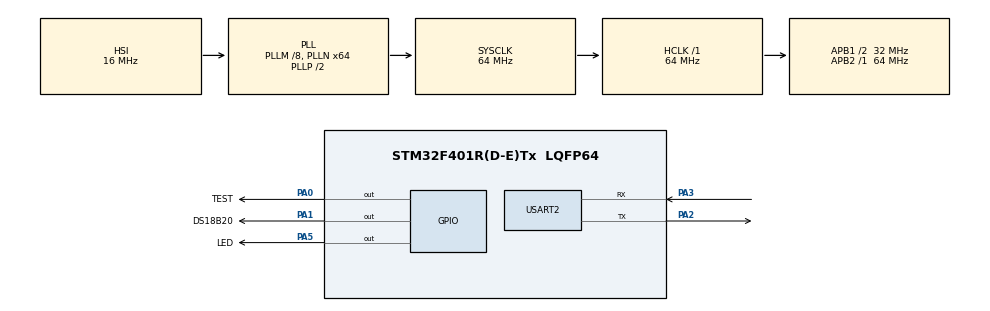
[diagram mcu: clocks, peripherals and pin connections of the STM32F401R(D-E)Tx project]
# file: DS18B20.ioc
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Mcu.Family=STM32F4
Mcu.Name=STM32F401R(D-E)Tx
Mcu.Package=LQFP64
NVIC.PriorityGroup=NVIC_PRIORITYGROUP_4
PA0-WKUP.GPIO_Label=TEST
PA0-WKUP.Signal=GPIO_Output
PA1.GPIO_Label=DS18B20
PA1.Signal=GPIO_Output
PA2.Mode=Asynchronous
PA2.Signal=USART2_TX
PA3.Mode=Asynchronous
PA3.Signal=USART2_RX
PA5.GPIO_Label=LED
PA5.Signal=GPIO_Output
ProjectManager.HeapSize=0x200
ProjectManager.StackSize=0x400
ProjectManager.TargetToolchain=SW4STM32
RCC.48MHZClocksFreq_Value=32000000
RCC.AHBFreq_Value=64000000
RCC.APB1CLKDivider=RCC_HCLK_DIV2
RCC.APB1Freq_Value=32000000
RCC.APB1TimFreq_Value=64000000
RCC.APB2Freq_Value=64000000
RCC.APB2TimFreq_Value=64000000
RCC.CortexFreq_Value=64000000
RCC.HCLKFreq_Value=64000000
RCC.HSE_VALUE=25000000
RCC.HSI_VALUE=16000000
RCC.LSE_VALUE=32768
RCC.PLLM=8
RCC.PLLN=64
RCC.SYSCLKFreq_VALUE=64000000
RCC.SYSCLKSource=RCC_SYSCLKSOURCE_PLLCLK
RCC.VCOOutputFreq_Value=128000000
TIM1.Period=65535
TIM1.Prescaler=63
USART2.VirtualMode=VM_ASYNC
VP_TIM1_VS_ClockSourceINT.Mode=Internal
board=DS18B20

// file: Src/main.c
/**
  ******************************************************************************
  * File Name          : main.c
  * Description        : Main program body
  ******************************************************************************
  ** This notice applies to any and all portions of this file
  * that are not between comment pairs USER CODE BEGIN and
  * USER CODE END. Other portions of this file, whether
  * inserted by the user or by software development tools
  * are owned by their respective copyright owners.
  *
  * COPYRIGHT(c) 2018 STMicroelectronics
  *
  * Redistribution and use in source and binary forms, with or without modification,
  * are permitted provided that the following conditions are met:
  *   1. Redistributions of source code must retain the above copyright notice,
  *      this list of conditions and the following disclaimer.
  *   2. Redistributions in binary form must reproduce the above copyright notice,
  *      this list of conditions and the following disclaimer in the documentation
  *      and/or other materials provided with the distribution.
  *   3. Neither the name of STMicroelectronics nor the names of its contributors
  *      may be used to endorse or promote products derived from this software
  *      without specific prior written permission.
  *
  * THIS SOFTWARE IS PROVIDED BY THE COPYRIGHT HOLDERS AND CONTRIBUTORS "AS IS"
  * AND ANY EXPRESS OR IMPLIED WARRANTIES, INCLUDING, BUT NOT LIMITED TO, THE
  * IMPLIED WARRANTIES OF MERCHANTABILITY AND FITNESS FOR A PARTICULAR PURPOSE ARE
  * DISCLAIMED. IN NO EVENT SHALL THE COPYRIGHT HOLDER OR CONTRIBUTORS BE LIABLE
  * FOR ANY DIRECT, INDIRECT, INCIDENTAL, SPECIAL, EXEMPLARY, OR CONSEQUENTIAL
  * DAMAGES (INCLUDING, BUT NOT LIMITED TO, PROCUREMENT OF SUBSTITUTE GOODS OR
  * SERVICES; LOSS OF USE, DATA, OR PROFITS; OR BUSINESS INTERRUPTION) HOWEVER
  * CAUSED AND ON ANY THEORY OF LIABILITY, WHETHER IN CONTRACT, STRICT LIABILITY,
  * OR TORT (INCLUDING NEGLIGENCE OR OTHERWISE) ARISING IN ANY WAY OUT OF THE USE
  * OF THIS SOFTWARE, EVEN IF ADVISED OF THE POSSIBILITY OF SUCH DAMAGE.
  *
  ******************************************************************************
  */
#include "main.h"
#include "stm32f4xx_hal.h"
#include "tim.h"
#include "usart.h"
#include "gpio.h"

/* USER CODE BEGIN Includes */
#include "onewire.h"
#include "ds18b20.h"
#include "string.h"
/* USER CODE END Includes */

/* USER CODE BEGIN PV */
/* Private variables ---------------------------------------------------------*/
float temperature;
char message[64];
/* USER CODE END PV */

void SystemClock_Config(void);

/* USER CODE BEGIN PFP */
/* Private function prototypes -----------------------------------------------*/

/* USER CODE END PFP */

int main(void)
{

  /* MCU Configuration----------------------------------------------------------*/

  /* Reset of all peripherals, Initializes the Flash interface and the Systick. */
  HAL_Init();

  /* Configure the system clock */
  SystemClock_Config();

  /* Initialize all configured peripherals */
  MX_GPIO_Init();
  MX_TIM1_Init();
  MX_USART2_UART_Init();

  /* USER CODE BEGIN 2 */
  DS18B20_Init(DS18B20_Resolution_12bits);
  HAL_GPIO_WritePin(TEST_GPIO_Port, TEST_Pin, 0);
  /* USER CODE END 2 */

  /* Infinite loop */
  while (1)
  {

  /* USER CODE BEGIN 3 */

	  DS18B20_ReadAll();
	  HAL_GPIO_WritePin(TEST_GPIO_Port, TEST_Pin, 1);
      DS18B20_StartAll();
      HAL_GPIO_WritePin(TEST_GPIO_Port, TEST_Pin, 0);
		uint8_t ROM_tmp[8];
		uint8_t i;
	for(i = 0; i < DS18B20_Quantity(); i++)
		{
			if(DS18B20_GetTemperature(i, &temperature))
			{
				DS18B20_GetROM(i, ROM_tmp);
				memset(message, 0, sizeof(message));
				sprintf(message, "%d. ROM: %X%X%X%X%X%X%X%X Temp: %f\n\r",i, ROM_tmp[0], ROM_tmp[1], ROM_tmp[2], ROM_tmp[3], ROM_tmp[4], ROM_tmp[5], ROM_tmp[6], ROM_tmp[7], temperature);
				HAL_UART_Transmit(&huart2, (uint8_t*)message, sizeof(message), 100);
			}
		}
		HAL_UART_Transmit(&huart2, (uint8_t*)"\n\r", sizeof("\n\r"), 100);
		HAL_Delay(1000);
		HAL_GPIO_TogglePin(LED_GPIO_Port, LED_Pin);
  }
  /* USER CODE END 3 */

}

/** System Clock Configuration
*/
void SystemClock_Config(void)
{

  RCC_OscInitTypeDef RCC_OscInitStruct;
  RCC_ClkInitTypeDef RCC_ClkInitStruct;

    /**Configure the main internal regulator output voltage
    */
  __HAL_RCC_PWR_CLK_ENABLE();

  __HAL_PWR_VOLTAGESCALING_CONFIG(PWR_REGULATOR_VOLTAGE_SCALE2);

    /**Initializes the CPU, AHB and APB busses clocks
    */
  RCC_OscInitStruct.OscillatorType = RCC_OSCILLATORTYPE_HSI;
  RCC_OscInitStruct.HSIState = RCC_HSI_ON;
  RCC_OscInitStruct.HSICalibrationValue = 16;
  RCC_OscInitStruct.PLL.PLLState = RCC_PLL_ON;
  RCC_OscInitStruct.PLL.PLLSource = RCC_PLLSOURCE_HSI;
  RCC_OscInitStruct.PLL.PLLM = 8;
  RCC_OscInitStruct.PLL.PLLN = 64;
  RCC_OscInitStruct.PLL.PLLP = RCC_PLLP_DIV2;
  RCC_OscInitStruct.PLL.PLLQ = 4;
  if (HAL_RCC_OscConfig(&RCC_OscInitStruct) != HAL_OK)
  {
    _Error_Handler(__FILE__, __LINE__);
  }

    /**Initializes the CPU, AHB and APB busses clocks
    */
  RCC_ClkInitStruct.ClockType = RCC_CLOCKTYPE_HCLK|RCC_CLOCKTYPE_SYSCLK
                              |RCC_CLOCKTYPE_PCLK1|RCC_CLOCKTYPE_PCLK2;
  RCC_ClkInitStruct.SYSCLKSource = RCC_SYSCLKSOURCE_PLLCLK;
  RCC_ClkInitStruct.AHBCLKDivider = RCC_SYSCLK_DIV1;
  RCC_ClkInitStruct.APB1CLKDivider = RCC_HCLK_DIV2;
  RCC_ClkInitStruct.APB2CLKDivider = RCC_HCLK_DIV1;

  if (HAL_RCC_ClockConfig(&RCC_ClkInitStruct, FLASH_LATENCY_2) != HAL_OK)
  {
    _Error_Handler(__FILE__, __LINE__);
  }

    /**Configure the Systick interrupt time
    */
  HAL_SYSTICK_Config(HAL_RCC_GetHCLKFreq()/1000);

    /**Configure the Systick
    */
  HAL_SYSTICK_CLKSourceConfig(SYSTICK_CLKSOURCE_HCLK);

  /* SysTick_IRQn interrupt configuration */
  HAL_NVIC_SetPriority(SysTick_IRQn, 0, 0);
}

void _Error_Handler(char * file, int line)
{
  while(1)
  {
  }
}

/************************ (C) COPYRIGHT STMicroelectronics *****END OF FILE****/
